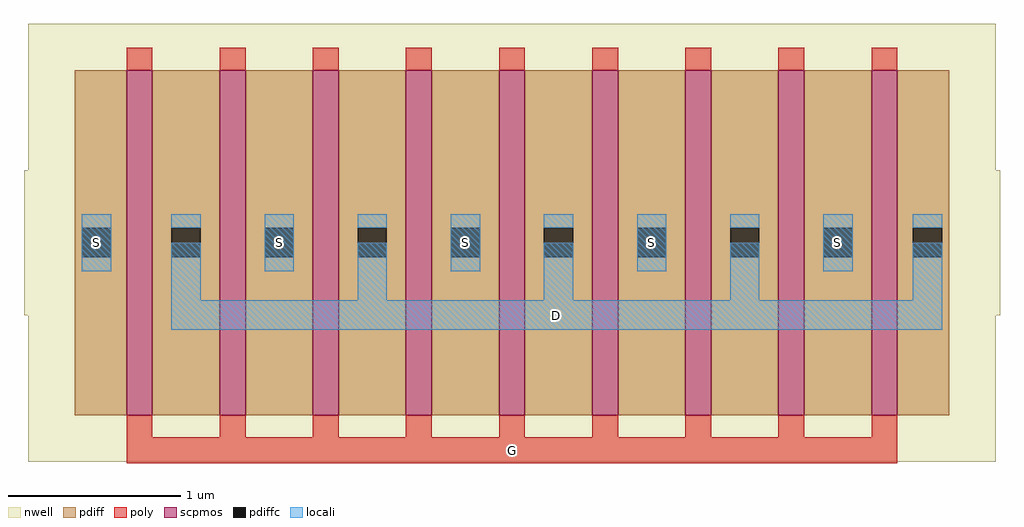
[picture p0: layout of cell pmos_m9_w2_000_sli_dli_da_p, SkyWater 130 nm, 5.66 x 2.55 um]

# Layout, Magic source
magic
tech sky130A
magscale 1 2
<< nwell >>
rect -54 -54 1068 454
<< scpmos >>
rect 60 0 90 400
rect 168 0 198 400
rect 276 0 306 400
rect 384 0 414 400
rect 492 0 522 400
rect 600 0 630 400
rect 708 0 738 400
rect 816 0 846 400
rect 924 0 954 400
<< pdiff >>
rect 0 0 60 400
rect 90 0 168 400
rect 198 0 276 400
rect 306 0 384 400
rect 414 0 492 400
rect 522 0 600 400
rect 630 0 708 400
rect 738 0 816 400
rect 846 0 924 400
rect 954 0 1014 400
<< poly >>
rect 60 400 90 426
rect 168 400 198 426
rect 276 400 306 426
rect 384 400 414 426
rect 492 400 522 426
rect 600 400 630 426
rect 708 400 738 426
rect 816 400 846 426
rect 924 400 954 426
rect 60 -26 90 0
rect 168 -26 198 0
rect 276 -26 306 0
rect 384 -26 414 0
rect 492 -26 522 0
rect 600 -26 630 0
rect 708 -26 738 0
rect 816 -26 846 0
rect 924 -26 954 0
rect 60 -56 954 -26
<< locali >>
rect 8 167 42 233
rect 112 133 146 200
rect 220 167 254 233
rect 328 133 362 200
rect 436 167 470 233
rect 544 133 578 200
rect 652 167 686 233
rect 760 133 794 200
rect 868 167 902 233
rect 972 133 1006 200
rect 112 99 1006 133
use contact_11  contact_11_9
transform 1 0 0 0 1 167
box -59 -51 109 117
use contact_11  contact_11_8
transform 1 0 104 0 1 167
box -59 -51 109 117
use contact_11  contact_11_7
transform 1 0 212 0 1 167
box -59 -51 109 117
use contact_11  contact_11_6
transform 1 0 320 0 1 167
box -59 -51 109 117
use contact_11  contact_11_5
transform 1 0 428 0 1 167
box -59 -51 109 117
use contact_11  contact_11_4
transform 1 0 536 0 1 167
box -59 -51 109 117
use contact_11  contact_11_3
transform 1 0 644 0 1 167
box -59 -51 109 117
use contact_11  contact_11_2
transform 1 0 752 0 1 167
box -59 -51 109 117
use contact_11  contact_11_1
transform 1 0 860 0 1 167
box -59 -51 109 117
use contact_11  contact_11_0
transform 1 0 964 0 1 167
box -59 -51 109 117
<< labels >>
rlabel poly s 507 -41 507 -41 4 G
rlabel corelocali s 669 200 669 200 4 S
rlabel corelocali s 453 200 453 200 4 S
rlabel corelocali s 25 200 25 200 4 S
rlabel corelocali s 885 200 885 200 4 S
rlabel corelocali s 237 200 237 200 4 S
rlabel corelocali s 559 116 559 116 4 D
<< properties >>
string FIXED_BBOX -54 -54 1068 454
<< end >>

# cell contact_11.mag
magic
tech sky130A
magscale 1 2
<< nwell >>
rect -59 -51 109 117
<< pdiff >>
rect 0 50 50 62
rect 0 16 8 50
rect 42 16 50 50
rect 0 4 50 16
<< pdiffc >>
rect 8 16 42 50
<< locali >>
rect 8 50 42 66
rect 8 0 42 16
<< properties >>
string FIXED_BBOX -59 -51 109 117
<< end >>
